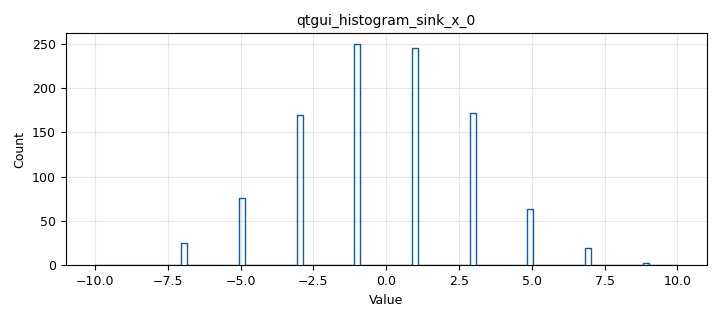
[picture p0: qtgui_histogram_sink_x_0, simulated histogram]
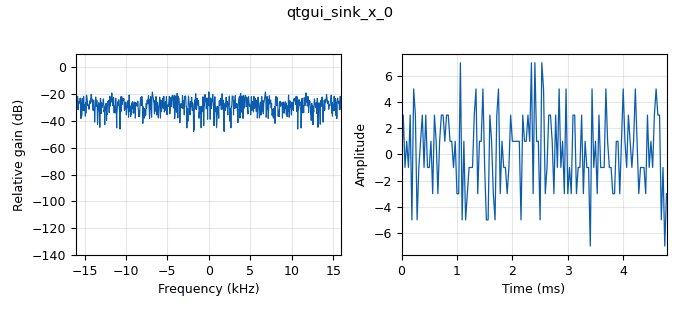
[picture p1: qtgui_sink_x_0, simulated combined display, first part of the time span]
<?xml version='1.0' encoding='utf-8'?>
<?grc format='1' created='3.7.12'?>
<flow_graph>
<block>
<key>options</key>
<param><key>id</key><value>top_block</value></param>
<param><key>generate_options</key><value>qt_gui</value></param>
</block>
<block>
<key>variable</key>
<param><key>id</key><value>samp_rate</value></param>
<param><key>value</key><value>32000</value></param>
</block>
<block>
<key>variable_qtgui_range</key>
<param><key>id</key><value>scale</value></param>
<param><key>value</key><value>1</value></param>
<param><key>orient</key><value>Qt.Horizontal</value></param>
<param><key>start</key><value>0</value></param>
<param><key>step</key><value>0.1</value></param>
<param><key>stop</key><value>10</value></param>
</block>
<block>
<key>blocks_add_xx</key>
<param><key>id</key><value>blocks_add_xx_0</value></param>
<param><key>type</key><value>float</value></param>
</block>
<block>
<key>blocks_add_xx</key>
<param><key>id</key><value>blocks_add_xx_0_0</value></param>
<param><key>type</key><value>float</value></param>
</block>
<block>
<key>blocks_add_xx</key>
<param><key>id</key><value>blocks_add_xx_0_1</value></param>
<param><key>type</key><value>float</value></param>
</block>
<block>
<key>blocks_add_xx</key>
<param><key>id</key><value>blocks_add_xx_0_1_0</value></param>
<param><key>type</key><value>float</value></param>
</block>
<block>
<key>blocks_add_xx</key>
<param><key>id</key><value>blocks_add_xx_0_1_1</value></param>
<param><key>type</key><value>float</value></param>
</block>
<block>
<key>blocks_add_xx</key>
<param><key>id</key><value>blocks_add_xx_0_1_2</value></param>
<param><key>type</key><value>float</value></param>
</block>
<block>
<key>blocks_add_xx</key>
<param><key>id</key><value>blocks_add_xx_0_1_2_0</value></param>
<param><key>type</key><value>float</value></param>
</block>
<block>
<key>blocks_add_xx</key>
<param><key>id</key><value>blocks_add_xx_0_2</value></param>
<param><key>type</key><value>float</value></param>
</block>
<block>
<key>blocks_throttle</key>
<param><key>id</key><value>blocks_throttle_0</value></param>
<param><key>samples_per_second</key><value>samp_rate</value></param>
<param><key>type</key><value>float</value></param>
</block>
<block>
<key>digital_glfsr_source_x</key>
<param><key>id</key><value>digital_glfsr_source_x_0</value></param>
<param><key>degree</key><value>32</value></param>
<param><key>mask</key><value>0</value></param>
<param><key>repeat</key><value>True</value></param>
<param><key>seed</key><value>876</value></param>
<param><key>type</key><value>float</value></param>
</block>
<block>
<key>digital_glfsr_source_x</key>
<param><key>id</key><value>digital_glfsr_source_x_0_0</value></param>
<param><key>degree</key><value>32</value></param>
<param><key>mask</key><value>0</value></param>
<param><key>repeat</key><value>True</value></param>
<param><key>seed</key><value>234</value></param>
<param><key>type</key><value>float</value></param>
</block>
<block>
<key>digital_glfsr_source_x</key>
<param><key>id</key><value>digital_glfsr_source_x_0_0_0</value></param>
<param><key>degree</key><value>32</value></param>
<param><key>mask</key><value>0</value></param>
<param><key>repeat</key><value>True</value></param>
<param><key>seed</key><value>8769876</value></param>
<param><key>type</key><value>float</value></param>
</block>
<block>
<key>digital_glfsr_source_x</key>
<param><key>id</key><value>digital_glfsr_source_x_0_0_1</value></param>
<param><key>degree</key><value>32</value></param>
<param><key>mask</key><value>0</value></param>
<param><key>repeat</key><value>True</value></param>
<param><key>seed</key><value>432132</value></param>
<param><key>type</key><value>float</value></param>
</block>
<block>
<key>digital_glfsr_source_x</key>
<param><key>id</key><value>digital_glfsr_source_x_0_0_2</value></param>
<param><key>degree</key><value>32</value></param>
<param><key>mask</key><value>0</value></param>
<param><key>repeat</key><value>True</value></param>
<param><key>seed</key><value>54687890</value></param>
<param><key>type</key><value>float</value></param>
</block>
<block>
<key>digital_glfsr_source_x</key>
<param><key>id</key><value>digital_glfsr_source_x_0_0_2_0</value></param>
<param><key>degree</key><value>32</value></param>
<param><key>mask</key><value>0</value></param>
<param><key>repeat</key><value>True</value></param>
<param><key>seed</key><value>54690</value></param>
<param><key>type</key><value>float</value></param>
</block>
<block>
<key>digital_glfsr_source_x</key>
<param><key>id</key><value>digital_glfsr_source_x_0_1</value></param>
<param><key>degree</key><value>32</value></param>
<param><key>mask</key><value>0</value></param>
<param><key>repeat</key><value>True</value></param>
<param><key>seed</key><value>8709</value></param>
<param><key>type</key><value>float</value></param>
</block>
<block>
<key>digital_glfsr_source_x</key>
<param><key>id</key><value>digital_glfsr_source_x_0_2</value></param>
<param><key>degree</key><value>32</value></param>
<param><key>mask</key><value>0</value></param>
<param><key>repeat</key><value>True</value></param>
<param><key>seed</key><value>653454</value></param>
<param><key>type</key><value>float</value></param>
</block>
<block>
<key>digital_glfsr_source_x</key>
<param><key>id</key><value>digital_glfsr_source_x_0_3</value></param>
<param><key>degree</key><value>32</value></param>
<param><key>mask</key><value>0</value></param>
<param><key>repeat</key><value>True</value></param>
<param><key>seed</key><value>777</value></param>
<param><key>type</key><value>float</value></param>
</block>
<block>
<key>import</key>
<param><key>id</key><value>import_0</value></param>
<param><key>import</key><value>import numpy as np</value></param>
</block>
<block>
<key>qtgui_histogram_sink_x</key>
<param><key>id</key><value>qtgui_histogram_sink_x_0</value></param>
<param><key>xmax</key><value>10</value></param>
<param><key>xmin</key><value>-10</value></param>
<param><key>bins</key><value>101</value></param>
<param><key>size</key><value>1024</value></param>
<param><key>type</key><value>float</value></param>
</block>
<block>
<key>qtgui_sink_x</key>
<param><key>id</key><value>qtgui_sink_x_0</value></param>
<param><key>bw</key><value>samp_rate</value></param>
<param><key>fc</key><value>0</value></param>
<param><key>freqchangevar</key><value>None</value></param>
<param><key>fftsize</key><value>1024</value></param>
<param><key>showports</key><value>True</value></param>
<param><key>type</key><value>float</value></param>
<param><key>wintype</key><value>firdes.WIN_BLACKMAN_hARRIS</value></param>
</block>
<block>
<key>qtgui_time_sink_x</key>
<param><key>id</key><value>qtgui_time_sink_x_0</value></param>
<param><key>gui_hint</key><value>0,0</value></param>
<param><key>grid</key><value>True</value></param>
<param><key>color1</key><value>"blue"</value></param>
<param><key>label1</key><value></value></param>
<param><key>size</key><value>128</value></param>
<param><key>srate</key><value>samp_rate</value></param>
<param><key>tr_delay</key><value>0.0</value></param>
<param><key>tr_mode</key><value>qtgui.TRIG_MODE_TAG</value></param>
<param><key>tr_tag</key><value>"t0"</value></param>
<param><key>type</key><value>float</value></param>
<param><key>update_time</key><value>10</value></param>
<param><key>ymax</key><value>10</value></param>
<param><key>ymin</key><value>-10</value></param>
</block>
<connection><source_block_id>blocks_add_xx_0</source_block_id><sink_block_id>blocks_add_xx_0_1_1</sink_block_id><source_key>0</source_key><sink_key>0</sink_key></connection>
<connection><source_block_id>blocks_add_xx_0_0</source_block_id><sink_block_id>blocks_add_xx_0_1_1</sink_block_id><source_key>0</source_key><sink_key>1</sink_key></connection>
<connection><source_block_id>blocks_add_xx_0_1</source_block_id><sink_block_id>blocks_add_xx_0_1_0</sink_block_id><source_key>0</source_key><sink_key>0</sink_key></connection>
<connection><source_block_id>blocks_add_xx_0_1_0</source_block_id><sink_block_id>blocks_add_xx_0_1_2</sink_block_id><source_key>0</source_key><sink_key>1</sink_key></connection>
<connection><source_block_id>blocks_add_xx_0_1_1</source_block_id><sink_block_id>blocks_add_xx_0_1_2</sink_block_id><source_key>0</source_key><sink_key>0</sink_key></connection>
<connection><source_block_id>blocks_add_xx_0_1_2</source_block_id><sink_block_id>blocks_add_xx_0_1_2_0</sink_block_id><source_key>0</source_key><sink_key>0</sink_key></connection>
<connection><source_block_id>blocks_add_xx_0_1_2_0</source_block_id><sink_block_id>blocks_throttle_0</sink_block_id><source_key>0</source_key><sink_key>0</sink_key></connection>
<connection><source_block_id>blocks_add_xx_0_2</source_block_id><sink_block_id>blocks_add_xx_0_1_0</sink_block_id><source_key>0</source_key><sink_key>1</sink_key></connection>
<connection><source_block_id>blocks_throttle_0</source_block_id><sink_block_id>qtgui_histogram_sink_x_0</sink_block_id><source_key>0</source_key><sink_key>0</sink_key></connection>
<connection><source_block_id>blocks_throttle_0</source_block_id><sink_block_id>qtgui_sink_x_0</sink_block_id><source_key>0</source_key><sink_key>0</sink_key></connection>
<connection><source_block_id>blocks_throttle_0</source_block_id><sink_block_id>qtgui_time_sink_x_0</sink_block_id><source_key>0</source_key><sink_key>0</sink_key></connection>
<connection><source_block_id>digital_glfsr_source_x_0</source_block_id><sink_block_id>blocks_add_xx_0</sink_block_id><source_key>0</source_key><sink_key>0</sink_key></connection>
<connection><source_block_id>digital_glfsr_source_x_0_0</source_block_id><sink_block_id>blocks_add_xx_0</sink_block_id><source_key>0</source_key><sink_key>1</sink_key></connection>
<connection><source_block_id>digital_glfsr_source_x_0_0_0</source_block_id><sink_block_id>blocks_add_xx_0_0</sink_block_id><source_key>0</source_key><sink_key>1</sink_key></connection>
<connection><source_block_id>digital_glfsr_source_x_0_0_1</source_block_id><sink_block_id>blocks_add_xx_0_1</sink_block_id><source_key>0</source_key><sink_key>1</sink_key></connection>
<connection><source_block_id>digital_glfsr_source_x_0_0_2</source_block_id><sink_block_id>blocks_add_xx_0_2</sink_block_id><source_key>0</source_key><sink_key>1</sink_key></connection>
<connection><source_block_id>digital_glfsr_source_x_0_0_2_0</source_block_id><sink_block_id>blocks_add_xx_0_1_2_0</sink_block_id><source_key>0</source_key><sink_key>1</sink_key></connection>
<connection><source_block_id>digital_glfsr_source_x_0_1</source_block_id><sink_block_id>blocks_add_xx_0_0</sink_block_id><source_key>0</source_key><sink_key>0</sink_key></connection>
<connection><source_block_id>digital_glfsr_source_x_0_2</source_block_id><sink_block_id>blocks_add_xx_0_1</sink_block_id><source_key>0</source_key><sink_key>0</sink_key></connection>
<connection><source_block_id>digital_glfsr_source_x_0_3</source_block_id><sink_block_id>blocks_add_xx_0_2</sink_block_id><source_key>0</source_key><sink_key>0</sink_key></connection>
</flow_graph>
